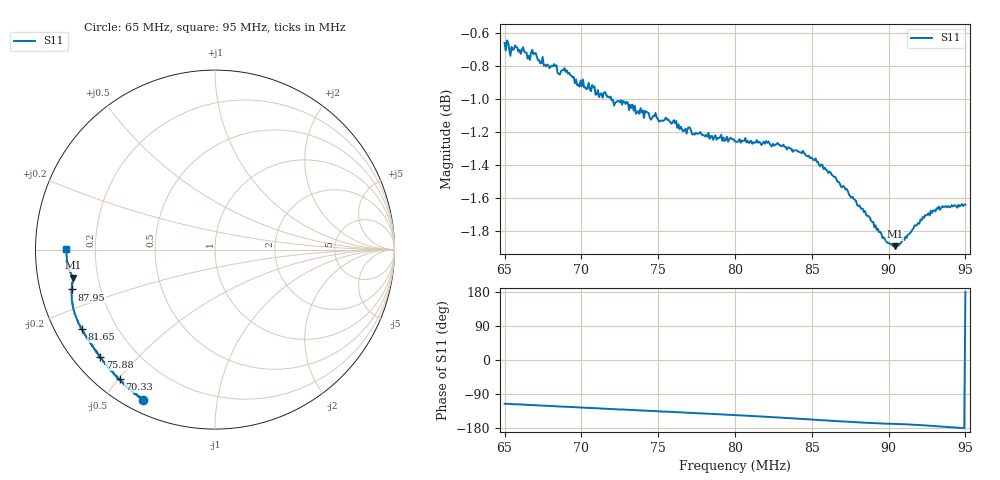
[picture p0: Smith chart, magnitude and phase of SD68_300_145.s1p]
! NanoVNA-App
! Date: 2025-08-09 13:30:04
! Start: 65MHz Stop: 95MHz Points: 401
! S-Parameter data: F S11
# Hz S RI R 50
!  Frequency  S11_Real  S11_Imag
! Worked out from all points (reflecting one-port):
!   401 points, 65 MHz to 95 MHz, reference 50 ohm
!   lowest |S11| = -1.9 dB at 90.42 MHz (marker M1), VSWR 9.23, Z = 5.47 - j4.87 ohm
!   phase of S11 starts at -116 deg and turns -65 deg over the sweep
!   S11 on the Smith chart (normalised r, x): 65 MHz: 0.05, -0.63; 70.33 MHz: 0.07, -0.50; 75.88 MHz: 0.08, -0.39; 81.65 MHz: 0.08, -0.27; 87.95 MHz: 0.10, -0.14; 95 MHz: 0.09, +0.00
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6.5e7  -0.4017 -0.8352
6.5225e7  -0.4009 -0.8361
6.56e7  -0.4129 -0.8252
6.59e7  -0.4185 -0.8207
6.6875e7  -0.4466 -0.8038
6.725e7  -0.4598 -0.7919
6.875e7  -0.497 -0.7616
6.905e7  -0.5017 -0.7584
7.0325e7  -0.532 -0.7227
7.25e7  -0.5804 -0.6738
7.3325e7  -0.5924 -0.6614
7.52e7  -0.6302 -0.6114
7.5875e7  -0.6402 -0.598
7.625e7  -0.646 -0.5881
7.67e7  -0.6553 -0.5754
8e7  -0.7101 -0.4946
8.165e7  -0.7416 -0.4442
8.375e7  -0.7721 -0.3769
8.5325e7  -0.7905 -0.3208
8.645e7  -0.7974 -0.2774
8.75e7  -0.7991 -0.2351
8.795e7  -0.7976 -0.2221
8.9225e7  -0.7931 -0.182
9.0425e7  -0.789 -0.157
9.125e7  -0.7987 -0.1404
9.2225e7  -0.8133 -0.1121
9.3125e7  -0.8225 -0.0752
9.5e7  -0.8282 0.00319
